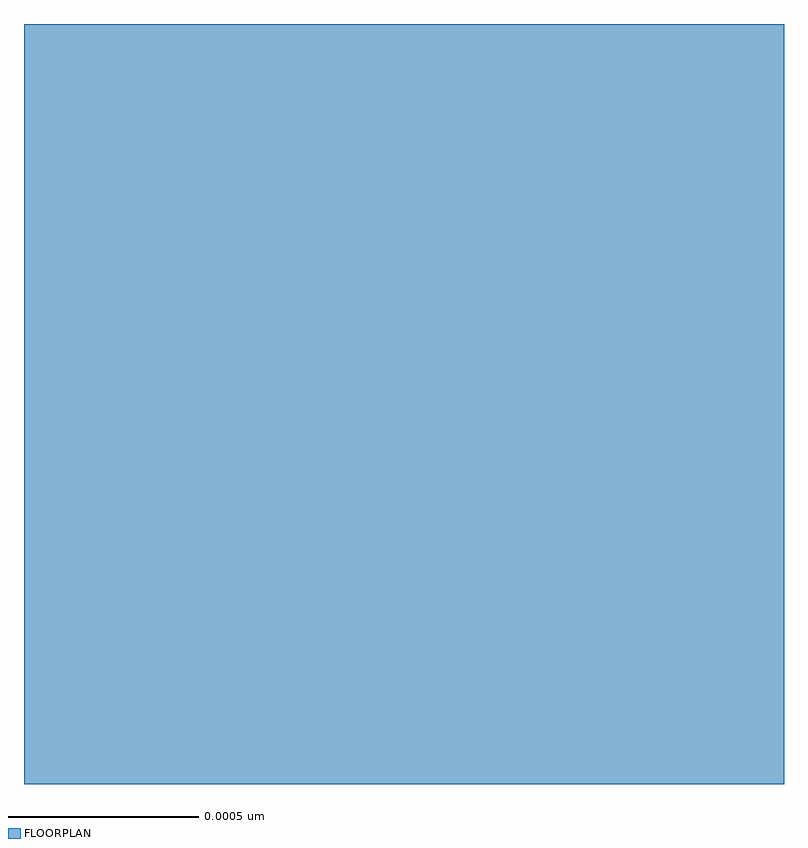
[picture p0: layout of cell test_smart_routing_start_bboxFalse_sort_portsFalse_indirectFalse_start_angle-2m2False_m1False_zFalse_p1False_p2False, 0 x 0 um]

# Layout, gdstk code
import gdstk
lib = gdstk.Library(unit=1e-6, precision=1e-09)
def R(c, l, rs):  # rectangles x0, y0, x1, y1
    for r in rs: c.add(gdstk.rectangle(r[:2], r[2:], *l))
FLOORPLAN = (10, 0)

test_smart_routing_start = lib.new_cell('test_smart_routing_start_bboxFalse_sort_portsFalse_indirectFalse_start_angle-2m2False_m1False_zFalse_p1False_p2False')
R(test_smart_routing_start, FLOORPLAN, [(-0.001,-0.001,0.001,0.001), (-0.001,-0.001,0.001,0.001), (-0.001,-0.001,0.001,0.001), (-0.001,-0.001,0.001,0.001), (-0.001,-0.001,0.001,0.001), (-0.001,-0.001,0.001,0.001), (-0.001,-0.001,0.001,0.001), (-0.001,-0.001,0.001,0.001)])

lib.write_gds('test_smart_routing_start_bboxFalse_sort_portsFalse_indirectFalse_start_angle-2m2False_m1False_zFalse_p1False_p2False.gds')
